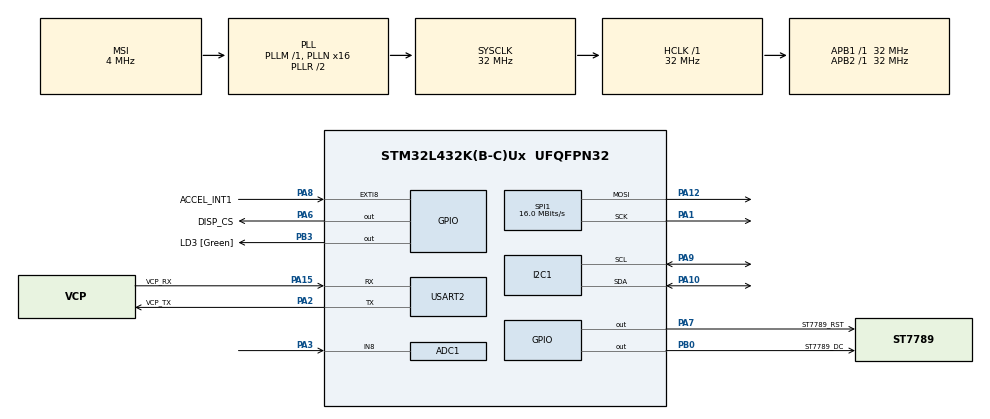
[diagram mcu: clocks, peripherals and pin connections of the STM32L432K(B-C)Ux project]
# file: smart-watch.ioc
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ADC1.Channel-0\#ChannelRegularConversion=ADC_CHANNEL_8
ADC1.NbrOfConversionFlag=1
ADC1.OffsetNumber-0\#ChannelRegularConversion=ADC_OFFSET_NONE
ADC1.Rank-0\#ChannelRegularConversion=1
ADC1.SamplingTime-0\#ChannelRegularConversion=ADC_SAMPLETIME_2CYCLES_5
ADC1.master=1
Dma.Request0=SPI1_TX
Dma.SPI1_TX.0.Direction=DMA_MEMORY_TO_PERIPH
Dma.SPI1_TX.0.Instance=DMA2_Channel4
Dma.SPI1_TX.0.MemDataAlignment=DMA_MDATAALIGN_BYTE
Dma.SPI1_TX.0.MemInc=DMA_MINC_ENABLE
Dma.SPI1_TX.0.Mode=DMA_NORMAL
Dma.SPI1_TX.0.PeriphDataAlignment=DMA_PDATAALIGN_BYTE
Dma.SPI1_TX.0.PeriphInc=DMA_PINC_DISABLE
Dma.SPI1_TX.0.Priority=DMA_PRIORITY_MEDIUM
FREERTOS.Tasks01=defaultTask,24,128,StartDefaultTask,Default,NULL,Dynamic,NULL,NULL
I2C1.Timing=0x00B07CB4
Mcu.Family=STM32L4
Mcu.Name=STM32L432K(B-C)Ux
Mcu.Package=UFQFPN32
NVIC.DMA2_Channel4_IRQn=true\:5\:0\:false\:false\:true\:false\:false\:true\:true
NVIC.EXTI9_5_IRQn=true\:5\:0\:false\:false\:true\:true\:true\:true\:true
NVIC.PriorityGroup=NVIC_PRIORITYGROUP_4
NVIC.TIM1_UP_TIM16_IRQn=true\:15\:0\:false\:false\:true\:false\:false\:true\:true
NVIC.TimeBase=TIM1_UP_TIM16_IRQn
NVIC.TimeBaseIP=TIM1
PA0.GPIO_Label=MCO [High speed clock in]
PA0.Mode=HSE-External-Clock-Source-for-LittleOrca
PA0.Signal=RCC_CK_IN
PA1.Mode=TX_Only_Simplex_Unidirect_Master
PA1.Signal=SPI1_SCK
PA10.Mode=I2C
PA10.Signal=I2C1_SDA
PA12.Mode=TX_Only_Simplex_Unidirect_Master
PA12.Signal=SPI1_MOSI
PA13\ (JTMS-SWDIO).GPIO_Label=SWDIO
PA13\ (JTMS-SWDIO).Mode=Serial_Wire
PA13\ (JTMS-SWDIO).Signal=SYS_JTMS-SWDIO
PA14\ (JTCK-SWCLK).GPIO_Label=SWCLK
PA14\ (JTCK-SWCLK).Mode=Serial_Wire
PA14\ (JTCK-SWCLK).Signal=SYS_JTCK-SWCLK
PA15\ (JTDI).GPIO_Label=VCP_RX
PA15\ (JTDI).Mode=Asynchronous
PA15\ (JTDI).Signal=USART2_RX
PA2.GPIO_Label=VCP_TX
PA2.Mode=Asynchronous
PA2.Signal=USART2_TX
PA3.Signal=ADCx_IN8
PA6.GPIO_Label=DISP_CS
PA6.Signal=GPIO_Output
PA7.GPIO_Label=ST7789_RST
PA7.Signal=GPIO_Output
PA8.GPIO_Label=ACCEL_INT1
PA8.GPIO_ModeDefaultEXTI=GPIO_MODE_IT_RISING_FALLING
PA8.GPIO_PuPd=GPIO_PULLDOWN
PA8.Signal=GPXTI8
PA9.Mode=I2C
PA9.Signal=I2C1_SCL
PB0.GPIO_Label=ST7789_DC
PB0.Signal=GPIO_Output
PB3\ (JTDO-TRACESWO).GPIO_Label=LD3 [Green]
PB3\ (JTDO-TRACESWO).Signal=GPIO_Output
PC14-OSC32_IN\ (PC14).Mode=LSE-External-Oscillator
PC14-OSC32_IN\ (PC14).Signal=RCC_OSC32_IN
PC15-OSC32_OUT\ (PC15).Mode=LSE-External-Oscillator
PC15-OSC32_OUT\ (PC15).Signal=RCC_OSC32_OUT
ProjectManager.HeapSize=0x200
ProjectManager.StackSize=0x400
ProjectManager.TargetToolchain=CMake
RCC.ADCFreq_Value=32000000
RCC.AHBFreq_Value=32000000
RCC.APB1Freq_Value=32000000
RCC.APB1TimFreq_Value=32000000
RCC.APB2Freq_Value=32000000
RCC.APB2TimFreq_Value=32000000
RCC.CortexFreq_Value=32000000
RCC.HCLKFreq_Value=32000000
RCC.HSE_VALUE=8000000
RCC.HSI16_VALUE=16000000
RCC.HSI48_VALUE=48000000
RCC.HSI_VALUE=16000000
RCC.MSI_VALUE=4000000
RCC.PLLMUL=RCC_PLLMUL_4
RCC.PLLN=16
RCC.PLLSAI1N=16
RCC.SYSCLKFreq_VALUE=32000000
RCC.SYSCLKSource=RCC_SYSCLKSOURCE_PLLCLK
RCC.USBFreq_Value=32000000
RCC.VCOOutputFreq_Value=64000000
SH.ADCx_IN8.0=ADC1_IN8,IN8-Single-Ended
SPI1.CLKPolarity=SPI_POLARITY_HIGH
SPI1.CalculateBaudRate=16.0 MBits/s
SPI1.DataSize=SPI_DATASIZE_8BIT
SPI1.Direction=SPI_DIRECTION_2LINES
SPI1.Mode=SPI_MODE_MASTER
SPI1.VirtualType=VM_MASTER
USART2.VirtualMode-Asynchronous=VM_ASYNC
VP_FREERTOS_VS_CMSIS_V2.Mode=CMSIS_V2
VP_RTC_VS_RTC_Activate.Mode=RTC_Enabled
VP_RTC_VS_RTC_Calendar.Mode=RTC_Calendar
VP_SYS_VS_tim1.Mode=TIM1
board=NUCLEO-L432KC

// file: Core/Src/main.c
/* USER CODE BEGIN Header */
/* USER CODE END Header */
#include "main.h"
#include "cmsis_os.h"

/* USER CODE BEGIN Includes */
#include <stdio.h>
// #include "st7789.h"
#include "LSM6DSO.h"
#include "cmsis_os2.h"
#include "seesaw_driver.h"
#include "stm32l4xx_hal_def.h"
#include "GC9A01.h"
#include "fonts.h"
#include "math.h"
#include "stm32l4xx_hal_pwr.h"
#include "string.h"
#include "stdlib.h"
/* USER CODE END Includes */

/* USER CODE BEGIN PD */
#define TIMEOUT 100
/* USER CODE END PD */

ADC_HandleTypeDef hadc1;

I2C_HandleTypeDef hi2c1;

RTC_HandleTypeDef hrtc;

UART_HandleTypeDef huart2;

/* Definitions for defaultTask */
osThreadId_t defaultTaskHandle;
const osThreadAttr_t defaultTask_attributes = {
  .name = "defaultTask",
  .stack_size = 256 * 4,
  .priority = (osPriority_t) osPriorityNormal,
};

/* USER CODE BEGIN PV */

#define ACCEL_X 0
#define ACCEL_Y 1
#define ACCEL_Z 2

#define EVENT_REDRAW_DISPLAY (1U << 0)
#define EVENT_ENTER_SLEEP_MODE (1U << 1)
#define EVENT_WAKE_UP_FROM_SLEEP (1U << 2)

#define SYSTEM_STATE_TASK_STACK_SIZE 256 * 4
#define ENCODER_TASK_STACK_SIZE 256 * 4
#define DISPLAY_TASK_STACK_SIZE 256 * 4         // needed 96 * 4 last check
#define ACCELEROMETER_TASK_STACK_SIZE 256 * 4

#define SYSTEM_STATE_TASK_PRIORITY osPriorityNormal
#define ENCODER_TASK_PRIORITY osPriorityNormal
#define DISPLAY_TASK_PRIORITY osPriorityNormal
#define ACCELEROMETER_TASK_PRIORITY osPriorityNormal1

// ############ Wait Periods etc ################

#define SYSTEM_STATE_TASK_WAIT 50
#define DISPLAY_TASK_WAIT 50
#define ENCODER_TASK_WAIT 50

#define SYSTEM_STATE_TASK_DELAY 10
#define ENCODER_TASK_DELAY 100
#define DISPLAY_TASK_DELAY 20
#define ACCELEROMETER_TASK_DELAY 20

#define DISPLAY_REDRAW_PERIOD 1000

#define TIME_TO_SLEEP 100000

// ########### Display State Management ################

typedef struct {
  uint8_t current_state;
  RTC_TimeTypeDef current_time;
  RTC_DateTypeDef current_date;
  uint8_t orientation;
  float battery_voltage;
} DisplayState;

DisplayState displayState = {
  .current_state = 0,
  .current_time = {0},
  .current_date = {0},
  .orientation = GC9A01_TOP
};

typedef struct {
  DisplayState *displayState;
  osMutexId_t systemStateMutex;
  osEventFlagsId_t eventFlags;
} DisplayTaskArgs;

DisplayTaskArgs displayTaskArgs = {
  .displayState = &displayState
};

// ############## System State Task ################

typedef struct {
  osMessageQueueId_t encoderQueue;
  osMutexId_t accelMutex;
  DisplayState *displayState;
  osMutexId_t systemStateMutex;
  osEventFlagsId_t eventFlags;
  osTimerId_t timerHandle;
} SystemStateTaskArgs;

SystemStateTaskArgs systemStateTaskArgs = {
  .displayState = &displayState
};

// ############## Sleep Task ################

typedef struct {
  osEventFlagsId_t eventFlags;
  osTimerId_t sleepTimerHandle;
} SleepTaskArgs;

SleepTaskArgs sleepTaskArgs;

// ############## Encoder Task ################

typedef struct {
  I2C_HandleTypeDef *hi2c;
  osMessageQueueId_t queue;
  osTimerId_t sleepTimerHandle;
} EncoderTaskArgs;

EncoderTaskArgs encoderTaskArgs = {
  .hi2c = &hi2c1,
  .queue = NULL
};

// ############## Accelerometer Task ################

typedef struct {
  I2C_HandleTypeDef *hi2c;
  osMutexId_t accelMutex;
} AccelerometerTaskArgs;

AccelerometerTaskArgs accelerometerTaskArgs = {
  .hi2c = &hi2c1,
  .accelMutex = NULL
};

// ############## Task Handles ################

osThreadId_t systemStateTaskHandle;
osThreadId_t encoderTaskHandle;
osThreadId_t accelerometerTaskHandle;
osThreadId_t displayTaskHandle;
osThreadId_t sleepTaskHandle;

// ############## Task Attributes ################

const osThreadAttr_t systemStateTask_attributes = {
  .name = "systemStateTask",
  .stack_size = SYSTEM_STATE_TASK_STACK_SIZE,
  .priority = SYSTEM_STATE_TASK_PRIORITY,
};

const osThreadAttr_t encoderTask_attributes = {
  .name = "encoderTask",
  .stack_size = ENCODER_TASK_STACK_SIZE,
  .priority = ENCODER_TASK_PRIORITY,
};

const osThreadAttr_t displayTask_attributes = {
  .name = "displayTask",
  .stack_size = DISPLAY_TASK_STACK_SIZE,
  .priority = DISPLAY_TASK_PRIORITY,
};

const osThreadAttr_t accelerometerTask_attributes = {
  .name = "accelerometerTask",
  .stack_size = ACCELEROMETER_TASK_STACK_SIZE,
  .priority = ACCELEROMETER_TASK_PRIORITY,
};

const osThreadAttr_t sleepTask_attributes = {
  .name = "sleepTask",
  .stack_size = 512 * 4,
  .priority = osPriorityNormal2,
};

int16_t accel_data_global[3];
volatile uint8_t accel_interrupt_flag;

volatile uint8_t dma_spi_fl1 = 0;

/* USER CODE END PV */

void SystemClock_Config(void);
static void MX_GPIO_Init(void);
static void MX_DMA_Init(void);
static void MX_I2C1_Init(void);
static void MX_RTC_Init(void);
static void MX_SPI1_Init(void);
static void MX_USART2_UART_Init(void);
static void MX_ADC1_Init(void);
void StartDefaultTask(void *argument);

/* USER CODE BEGIN PFP */
void write_to_accel(I2C_HandleTypeDef *hi2c, uint8_t reg, uint8_t *data, uint16_t size);
void read_from_accel(I2C_HandleTypeDef *hi2c, uint8_t reg, uint8_t *data, uint16_t size);
void read_from_encoder(I2C_HandleTypeDef *hi2c, uint16_t reg, uint8_t *data, uint16_t size);

void InitEncoder(void);
void InitAccelerometer(void);

void DrawWatchStateFace(DisplayState *displayState);
void DrawChronoStateFace(DisplayState *displayState);

void SystemStateTask(void *argument);
void AccelerometerTask(void *argument);
void DisplayTask(void *argument);
void EncoderTask(void *argument);
void SleepTask(void *argument);

/* USER CODE END PFP */

void TimerCallback(void *argument) {
  osEventFlagsSet(systemStateTaskArgs.eventFlags, EVENT_REDRAW_DISPLAY);
}

void SleepTimerCallback(void *argument) {
  osEventFlagsSet(systemStateTaskArgs.eventFlags, EVENT_ENTER_SLEEP_MODE);
}

int main(void)
{

  /* MCU Configuration--------------------------------------------------------*/

  /* Reset of all peripherals, Initializes the Flash interface and the Systick. */
  HAL_Init();

  /* Configure the system clock */
  SystemClock_Config();

  /* Initialize all configured peripherals */
  MX_GPIO_Init();
  MX_DMA_Init();
  MX_I2C1_Init();
  MX_RTC_Init();
  MX_SPI1_Init();
  MX_USART2_UART_Init();
  MX_ADC1_Init();
  /* USER CODE BEGIN 2 */
  // ST7789_Init();

  /* USER CODE BEGIN Init */
  LL_APB2_GRP1_EnableClock(LL_APB2_GRP1_PERIPH_SYSCFG);
  LL_APB1_GRP1_EnableClock(LL_APB1_GRP1_PERIPH_PWR);

  NVIC_SetPriorityGrouping(NVIC_PRIORITYGROUP_4);
  NVIC_SetPriority(SysTick_IRQn, NVIC_EncodePriority(NVIC_GetPriorityGrouping(), 15, 0));
  /* USER CODE END Init */

  LL_DMA_DisableChannel(DMA_NO, DMA_CHANNEL);
  LL_DMA_ClearFlag_TC(DMA_NO);
  LL_DMA_ClearFlag_TE(DMA_NO);
  LL_DMA_EnableIT_TC(DMA_NO, DMA_CHANNEL);
  LL_DMA_EnableIT_TE(DMA_NO, DMA_CHANNEL);
  LL_SPI_EnableDMAReq_TX(SPI_NO);
  LL_SPI_Enable(SPI_NO);

  /* USER CODE END 2 */

  /* Init scheduler */
  osKernelInitialize();

  /* USER CODE BEGIN RTOS_MUTEX */
  osMutexId_t accelMutexHandle = osMutexNew(NULL);
  accelerometerTaskArgs.accelMutex = accelMutexHandle;

  osMutexId_t systemStateMutexHandle = osMutexNew(NULL);
  systemStateTaskArgs.systemStateMutex = systemStateMutexHandle;
  displayTaskArgs.systemStateMutex = systemStateMutexHandle;
  /* USER CODE END RTOS_MUTEX */

  /* USER CODE BEGIN RTOS_TIMERS */
  osTimerId_t displayTimerHandle = osTimerNew(TimerCallback, osTimerPeriodic, NULL, NULL);
  systemStateTaskArgs.timerHandle = displayTimerHandle;

  osTimerId_t sleepTimerHandle = osTimerNew(SleepTimerCallback, osTimerPeriodic, NULL, NULL);
  encoderTaskArgs.sleepTimerHandle = sleepTimerHandle;
  sleepTaskArgs.sleepTimerHandle = sleepTimerHandle;

  osTimerStart(sleepTimerHandle, TIME_TO_SLEEP);
  /* USER CODE END RTOS_TIMERS */

  /* USER CODE BEGIN RTOS_QUEUES */
  osMessageQueueId_t encoderQueueHandle = osMessageQueueNew(3, sizeof(int8_t), NULL);
  encoderTaskArgs.queue = encoderQueueHandle;
  systemStateTaskArgs.encoderQueue = encoderQueueHandle;

  /* USER CODE END RTOS_QUEUES */

  /* Create the thread(s) */
  /* creation of defaultTask */
  defaultTaskHandle = osThreadNew(StartDefaultTask, NULL, &defaultTask_attributes);

  /* USER CODE BEGIN RTOS_EVENTS */
  osEventFlagsId_t eventFlagsHandle = osEventFlagsNew(NULL);
  displayTaskArgs.eventFlags = eventFlagsHandle;
  sleepTaskArgs.eventFlags = eventFlagsHandle;
  systemStateTaskArgs.eventFlags = eventFlagsHandle;
  /* USER CODE END RTOS_EVENTS */

  /* Start scheduler */
  osKernelStart();

  /* We should never get here as control is now taken by the scheduler */

  /* Infinite loop */
  while (1)
  {

  }
}

void write_to_accel(I2C_HandleTypeDef *hi2c, uint8_t reg, uint8_t *data, uint16_t size) {
    HAL_StatusTypeDef status = HAL_I2C_Mem_Write(hi2c, ACCEL_ADDRESS << 1, reg, I2C_MEMADD_SIZE_8BIT, data, size, TIMEOUT);
    if (status != HAL_OK) {
        printf("Error writing to accelerometer register 0x%02X: %d\n", reg, status);
    }
}

void read_from_accel(I2C_HandleTypeDef *hi2c, uint8_t reg, uint8_t *data, uint16_t size) {
    HAL_StatusTypeDef status = HAL_I2C_Mem_Read(hi2c, ACCEL_ADDRESS << 1, reg, I2C_MEMADD_SIZE_8BIT, data, size, TIMEOUT);
    if (status != HAL_OK) {
        printf("Error reading from accelerometer register 0x%02X: %d\n", reg, status);
    }
}

void read_from_encoder(I2C_HandleTypeDef *hi2c, uint16_t reg, uint8_t *data, uint16_t size) {
    HAL_StatusTypeDef status = HAL_I2C_Mem_Read(hi2c, SEESAW_I2C_ADDRESS << 1, reg, I2C_MEMADD_SIZE_16BIT, data, size, TIMEOUT);
    if (status != HAL_OK) {
        printf("Error reading from encoder register 0x%04X: %d\n", reg, status);
    }
}

void InitEncoder(void) {

  // set encoder to 0
  uint16_t encoder_position_reg = ((uint16_t)SEESAW_ENCODER_BASE << 8) | (uint16_t)SEESAW_ENCODER_POSITION;
  uint8_t encoder_position = 0;

  HAL_StatusTypeDef encoder_status = HAL_I2C_Mem_Write(&hi2c1, SEESAW_I2C_ADDRESS << 1,
    encoder_position_reg, I2C_MEMADD_SIZE_16BIT, &encoder_position, 1, HAL_MAX_DELAY);
  if (encoder_status != HAL_OK) { printf("Error setting encoder position: %d\n", encoder_status); }

}

void AccelerometerLowPower(void) {
  uint16_t reg = CTRL5_C;
  uint8_t accel_sleep_data = 0x80; // XL_ULP_EN = 1
  write_to_accel(&hi2c1, reg, &accel_sleep_data, 1);
}

void InitAccelerometer(void) {

  uint16_t reg;
  uint8_t data;

  reg = CTRL6_C;
  data = 0x10; // disable high-performance mode = 1
  write_to_accel(&hi2c1, reg, &data, 1);

  reg = CTRL1_XL;
  data = 0x30; // 52Hz, 2h, high-resolution selection = 0
  write_to_accel(&hi2c1, reg, &data, 1);

  reg = MD1_CFG;
  data = 0x08; // enable double-tap detection interrupt
  write_to_accel(&hi2c1, reg, &data, 1);

  reg = TAP_CFG0;
  data = 0x02;       // z axis tap
  write_to_accel(&hi2c1, reg, &data, 1);

  reg = TAP_CFG2;
  data = 0x80;       // enable interrupts
  write_to_accel(&hi2c1, reg, &data, 1);

  reg = TAP_THS_6D;
  data = 0x10;
  write_to_accel(&hi2c1, reg, &data, 1);

  reg = INT_DUR2;
  data = 0x2A; // ~600ms double tap delay, 2 quiet, 2 shock
  write_to_accel(&hi2c1, reg, &data, 1);

  reg = WAKE_UP_THS;
  data = 0x80; // enable double-tap detection
  write_to_accel(&hi2c1, reg, &data, 1);

}

void PollI2CDevices(void) {

  uint8_t i = 0;
  char buffer[100];
  // Scan the I2C bus for any connected devices
  for (uint8_t a = 1; a < 128; a++) {
    if (HAL_I2C_IsDeviceReady(&hi2c1, a << 1, 2, 10) == HAL_OK) {
      snprintf(buffer, sizeof(buffer), "Found device: 0x%02X\n", a);
      printf(buffer);
      // ST7789_WriteString(10, (20 * i) + 10, buffer, Font_11x18, BLUE, WHITE);
      i++;
    }
  }

}

// void EncoderInterruptTask(void *argument) {
//   while (1) {
//     if (accel_interrupt_flag) {
//       accel_interrupt_flag = 0;
//       printf("Accelerometer interrupt detected!\n");
//     }
//     osDelay(10);
//   }
// }

void SleepTask(void *argument) {

  SleepTaskArgs *args = (SleepTaskArgs *)argument;
  osEventFlagsId_t eventFlags = args->eventFlags;
  osTimerId_t sleepTimer = args->sleepTimerHandle;

  for (;;) {
    osEventFlagsWait(eventFlags, EVENT_ENTER_SLEEP_MODE, osFlagsWaitAny, osWaitForever);

    GC9A01_ClearScreen(BLACK);
    GC9A01_String(40, 120, "Entering Sleep Mode...");
    GC9A01_Sleep();

    HAL_SuspendTick();

    // Enter Stop2 with wake from interrupt
    HAL_PWREx_EnterSTOP2Mode(PWR_STOPENTRY_WFI);

    HAL_GPIO_TogglePin(LD3_GPIO_Port, LD3_Pin);
    // osEventFlagsWait(eventFlags, EVENT_WAKE_UP_FROM_SLEEP, osFlagsWaitAny, osWaitForever);
    // osEventFlagsClear(eventFlags, EVENT_WAKE_UP_FROM_SLEEP);

    // Resume the systick to allow interrupts and waking of mcu
    HAL_ResumeTick();

    // Reconfigure the system clock
    SystemClock_Config();

    GC9A01_WakeUp();

    osEventFlagsClear(eventFlags, EVENT_ENTER_SLEEP_MODE);

    osTimerStart(sleepTimer, TIME_TO_SLEEP);
  }
}

typedef enum {
  STATE_WATCH,
  STATE_CHRONO,
  STATE_GAME
} SystemState;

void DrawWatchStateFace(DisplayState *displayState) {

  char time_buffer[20];
  char date_buffer[20];
  char batt_buffer[20];

  RTC_TimeTypeDef sTime = displayState->current_time;
  RTC_DateTypeDef sDate = displayState->current_date;

  uint8_t dec = displayState->battery_voltage;
  uint8_t frac = (displayState->battery_voltage - dec) * 100;

  snprintf(time_buffer, sizeof(time_buffer), "%02d:%02d:%02d", sTime.Hours, sTime.Minutes, sTime.Seconds);
  snprintf(date_buffer, sizeof(date_buffer), "%02d/%02d/%04d", sDate.Month, sDate.Date, sDate.Year);
  snprintf(batt_buffer, sizeof(batt_buffer), "%d.%02dV", dec, frac);

  GC9A01_ClearScreen(BLACK);

  GC9A01_SetFont(&Font12);
  GC9A01_String(40, 40, batt_buffer);
  GC9A01_SetFont(&Font24);
  GC9A01_String(40, 80, time_buffer);
  GC9A01_String(40, 100, date_buffer);
}

void DrawChronoStateFace(DisplayState *displayState) {

  char chrono_buffer[20];

  snprintf(chrono_buffer, sizeof(chrono_buffer), "Timer: 00:00.00");

  GC9A01_ClearScreen(BLACK);
  GC9A01_String(20, 80, chrono_buffer);
}

void DisplayTask(void *argument) {

  UBaseType_t uxHighWaterMark = uxTaskGetStackHighWaterMark(NULL);

  DisplayTaskArgs *args = (DisplayTaskArgs *)argument;
  osMutexId_t systemStateMutex = args->systemStateMutex;
  DisplayState *displayState = args->displayState;
  osEventFlagsId_t eventFlags = args->eventFlags;

  DisplayState local_display_state;

  for (;;) {

    osEventFlagsWait(eventFlags, EVENT_REDRAW_DISPLAY, osFlagsWaitAny, osWaitForever);
    osEventFlagsClear(eventFlags, EVENT_REDRAW_DISPLAY);

    osMutexAcquire(systemStateMutex, DISPLAY_TASK_WAIT);
    local_display_state = *displayState;
    osMutexRelease(systemStateMutex);

    GC9A01_Set_Orientation(local_display_state.orientation);

    switch (local_display_state.current_state) {
      case STATE_WATCH:
        DrawWatchStateFace(&local_display_state);
        break;
      case STATE_CHRONO:
        DrawChronoStateFace(&local_display_state);
        break;
      case STATE_GAME:
        // DrawGameStateFace();
        break;
      default:
        break;
    }

    uxHighWaterMark = uxTaskGetStackHighWaterMark(NULL);

    osDelay(DISPLAY_TASK_DELAY);

  }
}

void BatteryTask(void *argument) {
  SystemStateTaskArgs *args = (SystemStateTaskArgs *)argument;
  osMutexId_t systemStateMutex = args->systemStateMutex;
  DisplayState *displayState = args->displayState;

  for (;;) {
    if (HAL_ADC_Start(&hadc1) != HAL_OK) {
      continue;
    }
    HAL_ADC_PollForConversion(&hadc1, HAL_MAX_DELAY);
    uint32_t batt_raw = HAL_ADC_GetValue(&hadc1);
    float v_node = (batt_raw / 4095.0f) * 3.3f;
    float v_batt = v_node * 2.0f; // halved for adc

    osMutexAcquire(systemStateMutex, SYSTEM_STATE_TASK_WAIT);
    displayState->battery_voltage = v_batt;
    osMutexRelease(systemStateMutex);

    osDelay(1000);
  }
}

void SystemStateTask(void *argument) {

  UBaseType_t uxHighWaterMark = uxTaskGetStackHighWaterMark(NULL);

  SystemStateTaskArgs *args = (SystemStateTaskArgs *)argument;
  osMessageQueueId_t encoderQueue = args->encoderQueue;
  osMutexId_t accelMutex = args->accelMutex;
  osMutexId_t systemStateMutex = args->systemStateMutex;
  DisplayState *displayState = args->displayState;
  osTimerId_t timerHandle = args->timerHandle;
  osEventFlagsId_t eventFlags = args->eventFlags;

  int16_t accelerometer_data_y;
  int8_t encoder_delta;

  DisplayState local_display_state = {
    .current_state = STATE_WATCH,
    .current_time = {0},
    .current_date = {0},
    .orientation = GC9A01_TOP
  };

  uint8_t redraw = 0;
  uint8_t previous_orientation = GC9A01_TOP;

  osTimerStart(timerHandle, DISPLAY_REDRAW_PERIOD);

  GC9A01_ClearScreen(BLACK);

  for (;;) {

    if (osMessageQueueGet(encoderQueue, &encoder_delta, NULL, 100) == osOK) {
      if (encoder_delta > 0) {        local_display_state.current_state = STATE_WATCH;  }
      else if (encoder_delta < 0) {   local_display_state.current_state = STATE_CHRONO; }
      redraw = 1;
    }

    osMutexAcquire(accelMutex, SYSTEM_STATE_TASK_WAIT);
    accelerometer_data_y = accel_data_global[ACCEL_Y];
    osMutexRelease(accelMutex);

    if (accelerometer_data_y < 0) {       local_display_state.orientation = GC9A01_TOP;    }
    else if (accelerometer_data_y >= 0) { local_display_state.orientation = GC9A01_BOTTOM; }

    if (local_display_state.orientation != previous_orientation) {
      redraw = 1;
      previous_orientation = local_display_state.orientation;
    }

    HAL_RTC_GetTime(&hrtc, &local_display_state.current_time, RTC_FORMAT_BIN);
    HAL_RTC_GetDate(&hrtc, &local_display_state.current_date, RTC_FORMAT_BIN);

    if (redraw) {
      osEventFlagsSet(eventFlags, EVENT_REDRAW_DISPLAY);
      redraw = 0;
    }

    osMutexAcquire(systemStateMutex, SYSTEM_STATE_TASK_WAIT);
    displayState->current_state = local_display_state.current_state;
    displayState->current_time = local_display_state.current_time;
    displayState->current_date = local_display_state.current_date;
    osMutexRelease(systemStateMutex);

    uxHighWaterMark = uxTaskGetStackHighWaterMark(NULL);
    osDelay(SYSTEM_STATE_TASK_DELAY);
  }
}

void ChronoTask(void *argument) {

  for (;;) {
    // Handle chronograph functionality
    osDelay(100);
  }
}

void AccelerometerReadTask(void *argument) {

  UBaseType_t uxHighWaterMark = uxTaskGetStackHighWaterMark(NULL);

  AccelerometerTaskArgs *args = (AccelerometerTaskArgs *)argument;
  osMutexId_t accelMutex = args->accelMutex;

  for (;;) {
    uint8_t accel_data[6];
    uint8_t num_bytes = 6;

    int accel_g_scale = 2;
    int accel_bits_precision = 16;
    float accel_scale_mg = accel_g_scale * 2 * 1000 / (float)(1 << accel_bits_precision);

    read_from_accel(&hi2c1, OUTX_L_A, accel_data, num_bytes);

    int16_t x = ((int16_t)((uint16_t)accel_data[1] << 8) | (uint16_t)accel_data[0]) * accel_scale_mg;
    int16_t y = ((int16_t)((uint16_t)accel_data[3] << 8) | (uint16_t)accel_data[2]) * accel_scale_mg;
    int16_t z = ((int16_t)((uint16_t)accel_data[5] << 8) | (uint16_t)accel_data[4]) * accel_scale_mg;

    osMutexAcquire(accelMutex, SYSTEM_STATE_TASK_WAIT);
    accel_data_global[ACCEL_X] = x;
    accel_data_global[ACCEL_Y] = y;
    accel_data_global[ACCEL_Z] = z;
    osMutexRelease(accelMutex);

    uxHighWaterMark = uxTaskGetStackHighWaterMark(NULL);
    osDelay(ACCELEROMETER_TASK_DELAY);
  }
}

void EncoderReadTask(void *argument) {

  UBaseType_t uxHighWaterMark = uxTaskGetStackHighWaterMark(NULL);

  EncoderTaskArgs *args = (EncoderTaskArgs *)argument;

  osMessageQueueId_t encoderQueue = args->queue;
  I2C_HandleTypeDef *hi2c = args->hi2c;
  osTimerId_t sleepTimerHandle = args->sleepTimerHandle;

  for (;;) {

    uint8_t encoder_delta_data[4];

    uint16_t encoder_delta_reg = ((uint16_t)SEESAW_ENCODER_BASE << 8) | (uint16_t)SEESAW_ENCODER_DELTA;

    read_from_encoder(hi2c, encoder_delta_reg, encoder_delta_data, 4);

    // int32_t encoder_delta = ((int32_t)encoder_delta_data[0] << 24) | ((int32_t)encoder_delta_data[1] << 16) | ((int32_t)encoder_delta_data[2] << 8) | (int32_t)encoder_delta_data[3];
    int8_t encoder_delta = (int8_t)encoder_delta_data[3];

    if (encoder_delta != 0) {
      osMessageQueuePut(encoderQueue, &encoder_delta, 0, 0);
      osTimerStart(sleepTimerHandle, TIME_TO_SLEEP); // Reset sleep timer on encoder activity
    }

    uxHighWaterMark = uxTaskGetStackHighWaterMark(NULL);
    osDelay(100);
  }

}

/* USER CODE END Header_StartDefaultTask */
void StartDefaultTask(void *argument)
{

  UBaseType_t uxHighWaterMark = uxTaskGetStackHighWaterMark(NULL);

  /* Infinite loop */
  for (;;)
  {
    // ST7789_Fill_Color(BLACK);
    /* USER CODE BEGIN 5 */
    // uint8_t i = 0;
    // char buffer[100];
    // char encoder_delta_buffer[100];
    // char encoder_value_buffer[100];
    // char accel_buffer[3][100];

    // ST7789_Fill_Color(BLACK);

    GC9A01_Initial();
    // GC9A01_ClearScreen(WHITE);
    GC9A01_SetBackColor(BLACK);
    GC9A01_SetTextColor(WHITE);
    GC9A01_SetFont(&Font24);
    // GC9A01_Text("Hello world", 1);
    // GC9A01_DrawCircle(120, 120, 60, BLUE);

    // PollI2CDevices();

    InitAccelerometer();
    InitEncoder();

    // osThreadNew(AccelerometerReadTask, NULL, NULL);
    osThreadNew(DisplayTask, &displayTaskArgs, &displayTask_attributes);
    osThreadNew(AccelerometerReadTask, &accelerometerTaskArgs, &accelerometerTask_attributes);
    osThreadNew(EncoderReadTask, &encoderTaskArgs, &encoderTask_attributes);
    osThreadNew(SystemStateTask, &systemStateTaskArgs, &systemStateTask_attributes);
    osThreadNew(SleepTask, &sleepTaskArgs, &sleepTask_attributes);
    osThreadNew(BatteryTask, &systemStateTaskArgs, NULL);
    // osThreadNew(WakeUpTask, &wakeUpTaskArgs, NULL);
    // osThreadNew(ChronoTask, NULL, NULL);
    // osThreadNew(GameTask, NULL, NULL);

    // printf("Initialization complete. Entering main loop...\n");

    // osThreadStop(defaultTaskHandle); // Stop the default task after initialization
    uxHighWaterMark = uxTaskGetStackHighWaterMark(NULL);
    osThreadTerminate(defaultTaskHandle); // Terminate the default task after initialization

    // osDelay(1000);
  }
  /* USER CODE END 5 */
}

void SystemClock_Config(void)
{
  RCC_OscInitTypeDef RCC_OscInitStruct = {0};
  RCC_ClkInitTypeDef RCC_ClkInitStruct = {0};

  /** Configure the main internal regulator output voltage
  */
  if (HAL_PWREx_ControlVoltageScaling(PWR_REGULATOR_VOLTAGE_SCALE1) != HAL_OK)
  {
    Error_Handler();
  }

  /** Configure LSE Drive Capability
  */
  HAL_PWR_EnableBkUpAccess();
  __HAL_RCC_LSEDRIVE_CONFIG(RCC_LSEDRIVE_LOW);

  /** Initializes the RCC Oscillators according to the specified parameters
  * in the RCC_OscInitTypeDef structure.
  */
  RCC_OscInitStruct.OscillatorType = RCC_OSCILLATORTYPE_LSI|RCC_OSCILLATORTYPE_LSE
                              |RCC_OSCILLATORTYPE_MSI;
  RCC_OscInitStruct.LSEState = RCC_LSE_ON;
  RCC_OscInitStruct.LSIState = RCC_LSI_ON;
  RCC_OscInitStruct.MSIState = RCC_MSI_ON;
  RCC_OscInitStruct.MSICalibrationValue = 0;
  RCC_OscInitStruct.MSIClockRange = RCC_MSIRANGE_6;
  RCC_OscInitStruct.PLL.PLLState = RCC_PLL_ON;
  RCC_OscInitStruct.PLL.PLLSource = RCC_PLLSOURCE_MSI;
  RCC_OscInitStruct.PLL.PLLM = 1;
  RCC_OscInitStruct.PLL.PLLN = 16;
  RCC_OscInitStruct.PLL.PLLP = RCC_PLLP_DIV7;
  RCC_OscInitStruct.PLL.PLLQ = RCC_PLLQ_DIV2;
  RCC_OscInitStruct.PLL.PLLR = RCC_PLLR_DIV2;
  if (HAL_RCC_OscConfig(&RCC_OscInitStruct) != HAL_OK)
  {
    Error_Handler();
  }

  /** Initializes the CPU, AHB and APB buses clocks
  */
  RCC_ClkInitStruct.ClockType = RCC_CLOCKTYPE_HCLK|RCC_CLOCKTYPE_SYSCLK
                              |RCC_CLOCKTYPE_PCLK1|RCC_CLOCKTYPE_PCLK2;
  RCC_ClkInitStruct.SYSCLKSource = RCC_SYSCLKSOURCE_PLLCLK;
  RCC_ClkInitStruct.AHBCLKDivider = RCC_SYSCLK_DIV1;
  RCC_ClkInitStruct.APB1CLKDivider = RCC_HCLK_DIV1;
  RCC_ClkInitStruct.APB2CLKDivider = RCC_HCLK_DIV1;

  if (HAL_RCC_ClockConfig(&RCC_ClkInitStruct, FLASH_LATENCY_1) != HAL_OK)
  {
    Error_Handler();
  }

  /** Enable MSI Auto calibration
  */
  HAL_RCCEx_EnableMSIPLLMode();
}

static void MX_ADC1_Init(void)
{

  ADC_ChannelConfTypeDef sConfig = {0};

  /** Common config
  */
  hadc1.Instance = ADC1;
  hadc1.Init.ClockPrescaler = ADC_CLOCK_ASYNC_DIV1;
  hadc1.Init.Resolution = ADC_RESOLUTION_12B;
  hadc1.Init.DataAlign = ADC_DATAALIGN_RIGHT;
  hadc1.Init.ScanConvMode = ADC_SCAN_DISABLE;
  hadc1.Init.EOCSelection = ADC_EOC_SINGLE_CONV;
  hadc1.Init.LowPowerAutoWait = DISABLE;
  hadc1.Init.ContinuousConvMode = DISABLE;
  hadc1.Init.NbrOfConversion = 1;
  hadc1.Init.DiscontinuousConvMode = DISABLE;
  hadc1.Init.ExternalTrigConv = ADC_SOFTWARE_START;
  hadc1.Init.ExternalTrigConvEdge = ADC_EXTERNALTRIGCONVEDGE_NONE;
  hadc1.Init.DMAContinuousRequests = DISABLE;
  hadc1.Init.Overrun = ADC_OVR_DATA_PRESERVED;
  hadc1.Init.OversamplingMode = DISABLE;
  if (HAL_ADC_Init(&hadc1) != HAL_OK)
  {
    Error_Handler();
  }

  /** Configure Regular Channel
  */
  sConfig.Channel = ADC_CHANNEL_8;
  sConfig.Rank = ADC_REGULAR_RANK_1;
  sConfig.SamplingTime = ADC_SAMPLETIME_2CYCLES_5;
  sConfig.SingleDiff = ADC_SINGLE_ENDED;
  sConfig.OffsetNumber = ADC_OFFSET_NONE;
  sConfig.Offset = 0;
  if (HAL_ADC_ConfigChannel(&hadc1, &sConfig) != HAL_OK)
  {
    Error_Handler();
  }

}

static void MX_I2C1_Init(void)
{

  hi2c1.Instance = I2C1;
  hi2c1.Init.Timing = 0x00B07CB4;
  hi2c1.Init.OwnAddress1 = 0;
  hi2c1.Init.AddressingMode = I2C_ADDRESSINGMODE_7BIT;
  hi2c1.Init.DualAddressMode = I2C_DUALADDRESS_DISABLE;
  hi2c1.Init.OwnAddress2 = 0;
  hi2c1.Init.OwnAddress2Masks = I2C_OA2_NOMASK;
  hi2c1.Init.GeneralCallMode = I2C_GENERALCALL_DISABLE;
  hi2c1.Init.NoStretchMode = I2C_NOSTRETCH_DISABLE;
  if (HAL_I2C_Init(&hi2c1) != HAL_OK)
  {
    Error_Handler();
  }

  /** Configure Analogue filter
  */
  if (HAL_I2CEx_ConfigAnalogFilter(&hi2c1, I2C_ANALOGFILTER_ENABLE) != HAL_OK)
  {
    Error_Handler();
  }

  /** Configure Digital filter
  */
  if (HAL_I2CEx_ConfigDigitalFilter(&hi2c1, 0) != HAL_OK)
  {
    Error_Handler();
  }

}

static void MX_RTC_Init(void)
{

  RTC_TimeTypeDef sTime = {0};
  RTC_DateTypeDef sDate = {0};

  /** Initialize RTC Only
  */
  hrtc.Instance = RTC;
  hrtc.Init.HourFormat = RTC_HOURFORMAT_24;
  hrtc.Init.AsynchPrediv = 127;
  hrtc.Init.SynchPrediv = 255;
  hrtc.Init.OutPut = RTC_OUTPUT_DISABLE;
  hrtc.Init.OutPutRemap = RTC_OUTPUT_REMAP_NONE;
  hrtc.Init.OutPutPolarity = RTC_OUTPUT_POLARITY_HIGH;
  hrtc.Init.OutPutType = RTC_OUTPUT_TYPE_OPENDRAIN;
  if (HAL_RTC_Init(&hrtc) != HAL_OK)
  {
    Error_Handler();
  }

  /** Initialize RTC and set the Time and Date
  */
  sTime.Hours = 0x0;
  sTime.Minutes = 0x0;
  sTime.Seconds = 0x0;
  sTime.DayLightSaving = RTC_DAYLIGHTSAVING_NONE;
  sTime.StoreOperation = RTC_STOREOPERATION_RESET;
  if (HAL_RTC_SetTime(&hrtc, &sTime, RTC_FORMAT_BCD) != HAL_OK)
  {
    Error_Handler();
  }
  sDate.WeekDay = RTC_WEEKDAY_MONDAY;
  sDate.Month = RTC_MONTH_JANUARY;
  sDate.Date = 0x1;
  sDate.Year = 0x0;

  if (HAL_RTC_SetDate(&hrtc, &sDate, RTC_FORMAT_BCD) != HAL_OK)
  {
    Error_Handler();
  }

}

static void MX_SPI1_Init(void)
{

  LL_SPI_InitTypeDef SPI_InitStruct = {0};

  LL_GPIO_InitTypeDef GPIO_InitStruct = {0};

  /* Peripheral clock enable */
  LL_APB2_GRP1_EnableClock(LL_APB2_GRP1_PERIPH_SPI1);

  LL_AHB2_GRP1_EnableClock(LL_AHB2_GRP1_PERIPH_GPIOA);
  /**SPI1 GPIO Configuration
  PA1   ------> SPI1_SCK
  PA12   ------> SPI1_MOSI
  */
  GPIO_InitStruct.Pin = LL_GPIO_PIN_1|LL_GPIO_PIN_12;
  GPIO_InitStruct.Mode = LL_GPIO_MODE_ALTERNATE;
  GPIO_InitStruct.Speed = LL_GPIO_SPEED_FREQ_VERY_HIGH;
  GPIO_InitStruct.OutputType = LL_GPIO_OUTPUT_PUSHPULL;
  GPIO_InitStruct.Pull = LL_GPIO_PULL_NO;
  GPIO_InitStruct.Alternate = LL_GPIO_AF_5;
  LL_GPIO_Init(GPIOA, &GPIO_InitStruct);

  /* SPI1 DMA Init */

  /* SPI1_TX Init */
  LL_DMA_SetPeriphRequest(DMA2, LL_DMA_CHANNEL_4, LL_DMA_REQUEST_4);

  LL_DMA_SetDataTransferDirection(DMA2, LL_DMA_CHANNEL_4, LL_DMA_DIRECTION_MEMORY_TO_PERIPH);

  LL_DMA_SetChannelPriorityLevel(DMA2, LL_DMA_CHANNEL_4, LL_DMA_PRIORITY_MEDIUM);

  LL_DMA_SetMode(DMA2, LL_DMA_CHANNEL_4, LL_DMA_MODE_NORMAL);

  LL_DMA_SetPeriphIncMode(DMA2, LL_DMA_CHANNEL_4, LL_DMA_PERIPH_NOINCREMENT);

  LL_DMA_SetMemoryIncMode(DMA2, LL_DMA_CHANNEL_4, LL_DMA_MEMORY_INCREMENT);

  LL_DMA_SetPeriphSize(DMA2, LL_DMA_CHANNEL_4, LL_DMA_PDATAALIGN_BYTE);

  LL_DMA_SetMemorySize(DMA2, LL_DMA_CHANNEL_4, LL_DMA_MDATAALIGN_BYTE);

  /* SPI1 parameter configuration*/
  SPI_InitStruct.TransferDirection = LL_SPI_FULL_DUPLEX;
  SPI_InitStruct.Mode = LL_SPI_MODE_MASTER;
  SPI_InitStruct.DataWidth = LL_SPI_DATAWIDTH_8BIT;
  SPI_InitStruct.ClockPolarity = LL_SPI_POLARITY_HIGH;
  SPI_InitStruct.ClockPhase = LL_SPI_PHASE_1EDGE;
  SPI_InitStruct.NSS = LL_SPI_NSS_SOFT;
  SPI_InitStruct.BaudRate = LL_SPI_BAUDRATEPRESCALER_DIV2;
  SPI_InitStruct.BitOrder = LL_SPI_MSB_FIRST;
  SPI_InitStruct.CRCCalculation = LL_SPI_CRCCALCULATION_DISABLE;
  SPI_InitStruct.CRCPoly = 7;
  LL_SPI_Init(SPI1, &SPI_InitStruct);
  LL_SPI_SetStandard(SPI1, LL_SPI_PROTOCOL_MOTOROLA);
  LL_SPI_EnableNSSPulseMgt(SPI1);

}

static void MX_USART2_UART_Init(void)
{

  huart2.Instance = USART2;
  huart2.Init.BaudRate = 115200;
  huart2.Init.WordLength = UART_WORDLENGTH_8B;
  huart2.Init.StopBits = UART_STOPBITS_1;
  huart2.Init.Parity = UART_PARITY_NONE;
  huart2.Init.Mode = UART_MODE_TX_RX;
  huart2.Init.HwFlowCtl = UART_HWCONTROL_NONE;
  huart2.Init.OverSampling = UART_OVERSAMPLING_16;
  huart2.Init.OneBitSampling = UART_ONE_BIT_SAMPLE_DISABLE;
  huart2.AdvancedInit.AdvFeatureInit = UART_ADVFEATURE_NO_INIT;
  if (HAL_UART_Init(&huart2) != HAL_OK)
  {
    Error_Handler();
  }

}

static void MX_DMA_Init(void)
{

  /* DMA controller clock enable */
  __HAL_RCC_DMA2_CLK_ENABLE();

  /* DMA interrupt init */
  /* DMA2_Channel4_IRQn interrupt configuration */
  NVIC_SetPriority(DMA2_Channel4_IRQn, NVIC_EncodePriority(NVIC_GetPriorityGrouping(),5, 0));
  NVIC_EnableIRQ(DMA2_Channel4_IRQn);

}

static void MX_GPIO_Init(void)
{
  GPIO_InitTypeDef GPIO_InitStruct = {0};

  /* GPIO Ports Clock Enable */
  __HAL_RCC_GPIOC_CLK_ENABLE();
  __HAL_RCC_GPIOA_CLK_ENABLE();
  __HAL_RCC_GPIOB_CLK_ENABLE();

  /*Configure GPIO pin Output Level */
  HAL_GPIO_WritePin(GPIOA, DISP_CS_Pin|ST7789_RST_Pin, GPIO_PIN_RESET);

  /*Configure GPIO pin Output Level */
  HAL_GPIO_WritePin(GPIOB, ST7789_DC_Pin|LD3_Pin, GPIO_PIN_RESET);

  /*Configure GPIO pins : DISP_CS_Pin ST7789_RST_Pin */
  GPIO_InitStruct.Pin = DISP_CS_Pin|ST7789_RST_Pin;
  GPIO_InitStruct.Mode = GPIO_MODE_OUTPUT_PP;
  GPIO_InitStruct.Pull = GPIO_NOPULL;
  GPIO_InitStruct.Speed = GPIO_SPEED_FREQ_LOW;
  HAL_GPIO_Init(GPIOA, &GPIO_InitStruct);

  /*Configure GPIO pins : ST7789_DC_Pin LD3_Pin */
  GPIO_InitStruct.Pin = ST7789_DC_Pin|LD3_Pin;
  GPIO_InitStruct.Mode = GPIO_MODE_OUTPUT_PP;
  GPIO_InitStruct.Pull = GPIO_NOPULL;
  GPIO_InitStruct.Speed = GPIO_SPEED_FREQ_LOW;
  HAL_GPIO_Init(GPIOB, &GPIO_InitStruct);

  /*Configure GPIO pin : ACCEL_INT1_Pin */
  GPIO_InitStruct.Pin = ACCEL_INT1_Pin;
  GPIO_InitStruct.Mode = GPIO_MODE_IT_RISING_FALLING;
  GPIO_InitStruct.Pull = GPIO_PULLDOWN;
  HAL_GPIO_Init(ACCEL_INT1_GPIO_Port, &GPIO_InitStruct);

  /* EXTI interrupt init*/
  HAL_NVIC_SetPriority(EXTI9_5_IRQn, 5, 0);
  HAL_NVIC_EnableIRQ(EXTI9_5_IRQn);

}

/* USER CODE BEGIN 4 */
void HAL_GPIO_EXTI_Callback(uint16_t GPIO_Pin)
{
  if (GPIO_Pin == ACCEL_INT1_Pin) {          // only runs once pending bit confirmed (fixes #2)
    accel_interrupt_flag = 1;
  }
}

void HAL_TIM_PeriodElapsedCallback(TIM_HandleTypeDef *htim)
{
  if (htim->Instance == TIM1)
  {
    HAL_IncTick();
  }
}

void Error_Handler(void)
{
}
